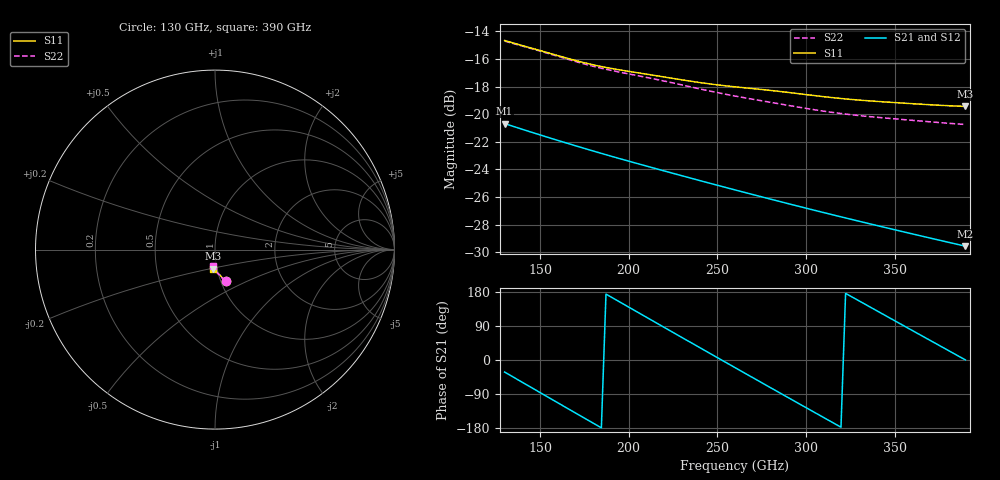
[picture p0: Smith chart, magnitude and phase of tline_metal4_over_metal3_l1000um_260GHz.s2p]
#  GHZ S DB R 50
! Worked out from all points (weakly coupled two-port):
!   101 points, 130 GHz to 390 GHz, reference 50 ohm
!   highest |S21| = -20.67 dB at 130 GHz (marker M1); lowest = -29.6 dB at 390 GHz (marker M2)
!   lowest |S11| = -19.4 dB at 390 GHz (marker M3), VSWR 1.24, Z = 47.7 - j10.2 ohm
!   |S11| at or under -10 dB: start of sweep to end of sweep
!   |S22| runs from -20.7 to -14.7 dB; largest |S21 - S12| = 7.7e-14
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130  -14.65 -71.1  -20.67 -31.8  -20.67 -31.8  -14.70 -70.9
140.4  -15.04 -72.6  -21.11 -59.9  -21.11 -59.9  -15.07 -72.6
150.8  -15.41 -74.1  -21.53 -88.1  -21.53 -88.1  -15.45 -74.4
161.2  -15.79 -75.6  -21.94 -116.1  -21.94 -116.1  -15.85 -76.2
174.2  -16.24 -77.0  -22.44 -151.1  -22.44 -151.1  -16.33 -78.0
182  -16.47 -77.7  -22.74 -172.1  -22.74 -172.1  -16.59 -78.9
192.4  -16.73 -78.6  -23.12 160.0  -23.12 160.0  -16.88 -80.1
205.4  -17.00 -80.0  -23.59 125.3  -23.59 125.3  -17.21 -81.8
218.4  -17.27 -81.6  -24.05 90.5  -24.05 90.5  -17.55 -83.8
228.8  -17.48 -82.7  -24.41 62.8  -24.41 62.8  -17.84 -85.3
239.2  -17.69 -83.8  -24.77 35.1  -24.77 35.1  -18.14 -86.6
249.6  -17.86 -84.7  -25.13 7.5  -25.13 7.5  -18.42 -87.8
260  -18.01 -85.7  -25.48 -20.1  -25.48 -20.1  -18.68 -88.8
270.4  -18.15 -86.8  -25.83 -47.6  -25.83 -47.6  -18.92 -89.8
280.8  -18.28 -88.0  -26.17 -75.0  -26.17 -75.0  -19.15 -90.8
291.2  -18.44 -89.2  -26.52 -102.4  -26.52 -102.4  -19.38 -91.7
304.2  -18.64 -90.6  -26.94 -136.5  -26.94 -136.5  -19.66 -92.7
314.6  -18.79 -91.4  -27.27 -163.7  -27.27 -163.7  -19.86 -93.3
325  -18.92 -92.2  -27.60 169.1  -27.60 169.1  -20.03 -93.8
348.4  -19.14 -93.9  -28.32 108.1  -28.32 108.1  -20.31 -95.3
366.6  -19.29 -95.3  -28.87 60.8  -28.87 60.8  -20.51 -96.7
390  -19.43 -96.8  -29.56 0.2  -29.56 0.2  -20.74 -98.5
